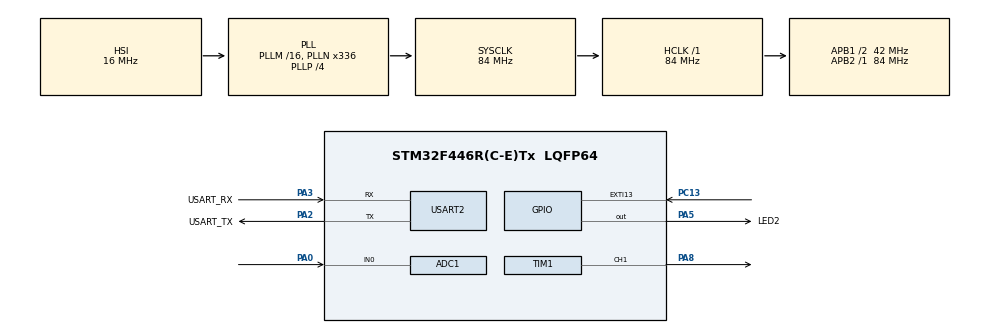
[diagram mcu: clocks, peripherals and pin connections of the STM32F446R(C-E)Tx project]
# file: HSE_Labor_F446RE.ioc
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ADC1.Channel-1\#ChannelRegularConversion=ADC_CHANNEL_0
ADC1.ContinuousConvMode=ENABLE
ADC1.NbrOfConversionFlag=1
ADC1.Rank-1\#ChannelRegularConversion=1
ADC1.SamplingTime-1\#ChannelRegularConversion=ADC_SAMPLETIME_3CYCLES
ADC1.master=1
Mcu.Family=STM32F4
Mcu.Name=STM32F446R(C-E)Tx
Mcu.Package=LQFP64
NUCLEO-F446RE.BUTTON=1
NUCLEO-F446RE.Bsp_Common_DEMO=true
NUCLEO-F446RE.LD1=true
NVIC.EXTI15_10_IRQn=true\:0\:0\:false\:false\:true\:false\:true\:true
NVIC.PriorityGroup=NVIC_PRIORITYGROUP_0
PA0-WKUP.Signal=ADCx_IN0
PA13.GPIO_Label=TMS
PA13.Mode=Serial_Wire
PA13.Signal=SYS_JTMS-SWDIO
PA14.GPIO_Label=TCK
PA14.Mode=Serial_Wire
PA14.Signal=SYS_JTCK-SWCLK
PA2.GPIO_Label=USART_TX
PA2.Mode=Asynchronous
PA2.Signal=USART2_TX
PA3.GPIO_Label=USART_RX
PA3.Mode=Asynchronous
PA3.Signal=USART2_RX
PA5.GPIO_Label=LED2
PA5.Signal=GPIO_Output
PA8.Signal=S_TIM1_CH1
PC13.Signal=GPXTI13
PC14-OSC32_IN.Signal=RCC_OSC32_IN
PC15-OSC32_OUT.Signal=RCC_OSC32_OUT
PH0-OSC_IN.Signal=RCC_OSC_IN
PH1-OSC_OUT.Signal=RCC_OSC_OUT
ProjectManager.HeapSize=0x200
ProjectManager.StackSize=0x400
ProjectManager.TargetToolchain=CMake
RCC.AHBFreq_Value=84000000
RCC.APB1CLKDivider=RCC_HCLK_DIV2
RCC.APB1Freq_Value=42000000
RCC.APB1TimFreq_Value=84000000
RCC.APB2Freq_Value=84000000
RCC.APB2TimFreq_Value=84000000
RCC.CortexFreq_Value=84000000
RCC.FLatency-AdvancedSettings=FLASH_LATENCY_2
RCC.HCLKFreq_Value=84000000
RCC.HSE_VALUE=8000000
RCC.HSI_VALUE=16000000
RCC.LSE_VALUE=32768
RCC.PLLN=336
RCC.PLLP=RCC_PLLP_DIV4
RCC.SYSCLKFreq_VALUE=84000000
RCC.SYSCLKSource=RCC_SYSCLKSOURCE_PLLCLK
RCC.USBFreq_Value=168000000
RCC.VCOOutputFreq_Value=336000000
SH.ADCx_IN0.0=ADC1_IN0,IN0
SH.S_TIM1_CH1.0=TIM1_CH1,PWM Generation1 CH1
TIM1.Channel-PWM\ Generation1\ CH1=TIM_CHANNEL_1
TIM1.Period=999
TIM1.Prescaler=83
USART2.VirtualMode=VM_ASYNC
VP_NUCLEO-F446RE_VS_BSP_COMMON.Mode=COMMON
VP_TIM1_VS_ClockSourceINT.Mode=Internal
board=NUCLEO-F446RE

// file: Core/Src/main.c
/* USER CODE BEGIN Header */
/**
  ******************************************************************************
  * @file           : main.c
  * @brief          : Main program body
  ******************************************************************************
  * @attention
  *
  * Copyright (c) 2026 STMicroelectronics.
  * All rights reserved.
  *
  * This software is licensed under terms that can be found in the LICENSE file
  * in the root directory of this software component.
  * If no LICENSE file comes with this software, it is provided AS-IS.
  *
  ******************************************************************************
  */
/* USER CODE END Header */
#include "main.h"

/* Button state */
#define BUTTON_RELEASED                    0U
#define BUTTON_PRESSED                     1U

ADC_HandleTypeDef hadc1;

TIM_HandleTypeDef htim1;

UART_HandleTypeDef huart2;

void SystemClock_Config(void);
static void MX_GPIO_Init(void);
static void MX_ADC1_Init(void);
static void MX_TIM1_Init(void);
static void MX_USART2_UART_Init(void);

/* USER CODE BEGIN 0 */

/* -------------------------------------------------*/
/* -- Aufgabenteil B -- **/
/* -------------------------------------------------*/

/* -- Messung der Spannung -- */
static float cur_voltage = 0.0f; // variable for STM32Cube Live Watch
static float cur_voltage_avg = 0.0f; // variable for STM32Cube Live Watch
static uint32_t adc_reading_int = 0.0f; // variable for STM32Cube Live Watch
static float avg_adc_reading_float = 0.0f; // variable for STM32Cube Live Watch
static uint32_t avg_adc_reading_int = 0.0f; // variable for STM32Cube Live Watch

uint32_t read_adc(void) {
  uint32_t reading;

  // Start the ADC conversion from an analog to a digital signal
  HAL_ADC_Start(&hadc1);

  // Wait for the conversion to complete with a timeout of 100ms
  if (HAL_ADC_PollForConversion(&hadc1, 100) == HAL_OK) {
      // Get the raw 12-bit value (0 - 4095)
      reading = HAL_ADC_GetValue(&hadc1);

      // Stop the ADC
      HAL_ADC_Stop(&hadc1);

      return reading;

  } else {

    // Stop the ADC after timeout
    HAL_ADC_Stop(&hadc1);
    return 0;
  }
}

/* -- gleitender Mittelwert Filter -- **/
// Window size (N)
#define WINDOW 32
static uint32_t mov_avg_index = 0;

// Moving average buffer and sum for int
static uint32_t buffer_int[WINDOW] = {0};
static uint32_t sum_int = 0;

// Int-Filter
uint32_t read_adc_avg_int(void) {

  // Start the ADC conversion from an analog to a digital signal
  HAL_ADC_Start(&hadc1);

  // Wait for the conversion to complete with a timeout of 100ms
  if (HAL_ADC_PollForConversion(&hadc1, 100) == HAL_OK) {

    uint32_t raw_value = HAL_ADC_GetValue(&hadc1);

    // Calculate current moving average:
    sum_int -= buffer_int[mov_avg_index];           // subtract oldest value in window from the sum
    buffer_int[mov_avg_index] = raw_value;          // add new value to the window
    sum_int += raw_value;                           // add the new value to the sum
    mov_avg_index = (mov_avg_index + 1) % WINDOW;   // loop through the window with modolu

    HAL_ADC_Stop(&hadc1);

    return (sum_int >> 5); // because WINDOW = 32 = 2^5 --> right shift by 5

  } else {

    // Stop the ADC after timeout
    HAL_ADC_Stop(&hadc1);
    return (sum_int >> 5);
  }
}

// Moving average buffer and sum for float
static float buffer_float[WINDOW] = {0.0f};
static float sum_float = 0.0f;

// Float-Filter
float read_adc_avg_float(void) {

  // Start the ADC conversion from an analog to a digital signal
  HAL_ADC_Start(&hadc1);

  // Wait for the conversion to complete with a timeout of 100ms
  if (HAL_ADC_PollForConversion(&hadc1, 100) == HAL_OK) {

    float raw_value = HAL_ADC_GetValue(&hadc1);

    // Calculate current moving average:
    sum_float -= buffer_float[mov_avg_index];          // subtract oldest value in window from the sum
    buffer_float[mov_avg_index] = raw_value;           // add new value to the window
    sum_float += raw_value;                            // add the new value to the sum
    mov_avg_index = (mov_avg_index + 1) % WINDOW;      // loop through the window, by going back to 0 with modulo

    HAL_ADC_Stop(&hadc1);

    return (sum_float / WINDOW);

  } else {

    // Stop the ADC after timeout
    HAL_ADC_Stop(&hadc1);
    return (sum_float / WINDOW);
  }
}

/* -- Toggle der LED bei bestimmter Spannung -- */
void toggle_led(void) {

      // uint32_t value = read_adc();      // Take current adc reading
      uint32_t value = read_adc_avg_int();  // Take average adc reading

      // Observation Note:
      // when the read value (single) are near the threshhold (2048) the LED will flicker, because the value fluctuates
      // when the avg is read, the LED will flicker less the greater the window

      // Check if value from ADC is above 2048, if true -> set pin, otherwise reset (LED on/off)
      if(value >= 2048) {
        HAL_GPIO_WritePin(GPIOA, GPIO_PIN_5, GPIO_PIN_SET);
      } else {
        HAL_GPIO_WritePin(GPIOA, GPIO_PIN_5, GPIO_PIN_RESET);
      }
}

float convert_to_voltage(uint32_t adc_reading) {
    // Convert value to voltage (3.3V reference voltage and 12-bit ADC resolution)
    return (float)adc_reading * (3.3f / 4095.0f);
}

/* ------------------------------------------ */
/* -- Aufgabenteil C -- */
/* -------------------------------------------*/

/* -- LED Dimmer / PWM -- */
#define ADC_MAX 4095u // max adc (here 12-Bit)
#define PWM_ARR 999u  // counter period (set in cubemx) -> 1000 duty steps

// Controlling brightness with average adc value
void led_brightness_pwm() {

  // Get current adc average
  uint32_t cur_adc_avg = read_adc_avg_int();

  // Calculate value to be compared
  uint32_t capture_compare_reg = (cur_adc_avg * (PWM_ARR + 1) ) / ADC_MAX; // i.e. (1450 * 1000) / 4095 = 354 -> 35,4 % pwm

  __HAL_TIM_SET_COMPARE(&htim1, TIM_CHANNEL_1, capture_compare_reg);
}

/* ------------------------------------------ */
/* -- Aufgabenteil D -- */
/* -------------------------------------------*/

// Interrupt Callback
void HAL_GPIO_EXTI_Callback(uint16_t GPIO_Pin)
{
  if (GPIO_Pin == GPIO_PIN_13)
  {
    HAL_GPIO_TogglePin(GPIOA, GPIO_PIN_5); // Toggle LED
  }
}
/* USER CODE END 0 */

int main(void)
{

  /* MCU Configuration--------------------------------------------------------*/

  /* Reset of all peripherals, Initializes the Flash interface and the Systick. */
  HAL_Init();

  /* Configure the system clock */
  SystemClock_Config();

  /* Initialize all configured peripherals */
  MX_GPIO_Init();
  MX_ADC1_Init();
  MX_TIM1_Init();
  MX_USART2_UART_Init();
  /* USER CODE BEGIN 2 */

  /* ----------------------------- */
  /* -- Aufgabenteil C -- */

  // Set to 10ms at runtime (1 µs * 10.000 = 10ms)
  //__HAL_TIM_SET_PRESCALER(&htim1, 83);        // PSC = 83 -> 84/84 = 1MHz = 1 µs
  //__HAL_TIM_SET_AUTORELOAD(&htim1, 9999);     // 10.000 ticks

  // Set to 100ms at runtime (10 µs * 10.000 = 10ms)
  //__HAL_TIM_SET_AUTORELOAD(&htim1, 9999);     // 10.000 ticks
  //__HAL_TIM_SET_PRESCALER(&htim1, 839);       // PSC = 839 -> 84/840 = 0,1 MHz = 10 µs

  // Start PWM Signal (Time 1, Channel 1)
  HAL_TIM_PWM_Start(&htim1, TIM_CHANNEL_1);

  /* ----------------------------- */

  /* ----------------------------- */
  /* -- Aufgabenteil D -- */

  /* ----------------------------- */

  /* USER CODE END 2 */

  /* Infinite loop */
  /* USER CODE BEGIN WHILE */
  while (1)
  {
    /** -- Aufgabenteil A - Toggeln der LED -- */
    //HAL_GPIO_TogglePin(GPIOA, GPIO_PIN_5);
    //HAL_Delay(1000);

    /* -- Aufgabenteil B - Messung der Spannung -- **/
    cur_voltage = convert_to_voltage(read_adc_avg_float());
    cur_voltage_avg = convert_to_voltage(read_adc_avg_int());
    avg_adc_reading_int = read_adc_avg_int();
    avg_adc_reading_float = read_adc_avg_float();

    //toggle_led(); // toggle led with current adc reading

    /* -- Aufgabenteil C - Dimmen der LED -- **/
    led_brightness_pwm(); // determine brightness for external led

    /* USER CODE END WHILE */

  }
}

void SystemClock_Config(void)
{
  RCC_OscInitTypeDef RCC_OscInitStruct = {0};
  RCC_ClkInitTypeDef RCC_ClkInitStruct = {0};

  /** Configure the main internal regulator output voltage
  */
  __HAL_RCC_PWR_CLK_ENABLE();
  __HAL_PWR_VOLTAGESCALING_CONFIG(PWR_REGULATOR_VOLTAGE_SCALE3);

  /** Initializes the RCC Oscillators according to the specified parameters
  * in the RCC_OscInitTypeDef structure.
  */
  RCC_OscInitStruct.OscillatorType = RCC_OSCILLATORTYPE_HSI;
  RCC_OscInitStruct.HSIState = RCC_HSI_ON;
  RCC_OscInitStruct.HSICalibrationValue = RCC_HSICALIBRATION_DEFAULT;
  RCC_OscInitStruct.PLL.PLLState = RCC_PLL_ON;
  RCC_OscInitStruct.PLL.PLLSource = RCC_PLLSOURCE_HSI;
  RCC_OscInitStruct.PLL.PLLM = 16;
  RCC_OscInitStruct.PLL.PLLN = 336;
  RCC_OscInitStruct.PLL.PLLP = RCC_PLLP_DIV4;
  RCC_OscInitStruct.PLL.PLLQ = 2;
  RCC_OscInitStruct.PLL.PLLR = 2;
  if (HAL_RCC_OscConfig(&RCC_OscInitStruct) != HAL_OK)
  {
    Error_Handler();
  }

  /** Initializes the CPU, AHB and APB buses clocks
  */
  RCC_ClkInitStruct.ClockType = RCC_CLOCKTYPE_HCLK|RCC_CLOCKTYPE_SYSCLK
                              |RCC_CLOCKTYPE_PCLK1|RCC_CLOCKTYPE_PCLK2;
  RCC_ClkInitStruct.SYSCLKSource = RCC_SYSCLKSOURCE_PLLCLK;
  RCC_ClkInitStruct.AHBCLKDivider = RCC_SYSCLK_DIV1;
  RCC_ClkInitStruct.APB1CLKDivider = RCC_HCLK_DIV2;
  RCC_ClkInitStruct.APB2CLKDivider = RCC_HCLK_DIV1;

  if (HAL_RCC_ClockConfig(&RCC_ClkInitStruct, FLASH_LATENCY_2) != HAL_OK)
  {
    Error_Handler();
  }
}

static void MX_ADC1_Init(void)
{

  ADC_ChannelConfTypeDef sConfig = {0};

  /** Configure the global features of the ADC (Clock, Resolution, Data Alignment and number of conversion)
  */
  hadc1.Instance = ADC1;
  hadc1.Init.ClockPrescaler = ADC_CLOCK_SYNC_PCLK_DIV4;
  hadc1.Init.Resolution = ADC_RESOLUTION_12B;
  hadc1.Init.ScanConvMode = DISABLE;
  hadc1.Init.ContinuousConvMode = ENABLE;
  hadc1.Init.DiscontinuousConvMode = DISABLE;
  hadc1.Init.ExternalTrigConvEdge = ADC_EXTERNALTRIGCONVEDGE_NONE;
  hadc1.Init.ExternalTrigConv = ADC_SOFTWARE_START;
  hadc1.Init.DataAlign = ADC_DATAALIGN_RIGHT;
  hadc1.Init.NbrOfConversion = 1;
  hadc1.Init.DMAContinuousRequests = DISABLE;
  hadc1.Init.EOCSelection = ADC_EOC_SINGLE_CONV;
  if (HAL_ADC_Init(&hadc1) != HAL_OK)
  {
    Error_Handler();
  }

  /** Configure for the selected ADC regular channel its corresponding rank in the sequencer and its sample time.
  */
  sConfig.Channel = ADC_CHANNEL_0;
  sConfig.Rank = 1;
  sConfig.SamplingTime = ADC_SAMPLETIME_3CYCLES;
  if (HAL_ADC_ConfigChannel(&hadc1, &sConfig) != HAL_OK)
  {
    Error_Handler();
  }

}

static void MX_TIM1_Init(void)
{

  TIM_ClockConfigTypeDef sClockSourceConfig = {0};
  TIM_MasterConfigTypeDef sMasterConfig = {0};
  TIM_OC_InitTypeDef sConfigOC = {0};
  TIM_BreakDeadTimeConfigTypeDef sBreakDeadTimeConfig = {0};

  htim1.Instance = TIM1;
  htim1.Init.Prescaler = 83;
  htim1.Init.CounterMode = TIM_COUNTERMODE_UP;
  htim1.Init.Period = 999;
  htim1.Init.ClockDivision = TIM_CLOCKDIVISION_DIV1;
  htim1.Init.RepetitionCounter = 0;
  htim1.Init.AutoReloadPreload = TIM_AUTORELOAD_PRELOAD_DISABLE;
  if (HAL_TIM_Base_Init(&htim1) != HAL_OK)
  {
    Error_Handler();
  }
  sClockSourceConfig.ClockSource = TIM_CLOCKSOURCE_INTERNAL;
  if (HAL_TIM_ConfigClockSource(&htim1, &sClockSourceConfig) != HAL_OK)
  {
    Error_Handler();
  }
  if (HAL_TIM_PWM_Init(&htim1) != HAL_OK)
  {
    Error_Handler();
  }
  sMasterConfig.MasterOutputTrigger = TIM_TRGO_RESET;
  sMasterConfig.MasterSlaveMode = TIM_MASTERSLAVEMODE_DISABLE;
  if (HAL_TIMEx_MasterConfigSynchronization(&htim1, &sMasterConfig) != HAL_OK)
  {
    Error_Handler();
  }
  sConfigOC.OCMode = TIM_OCMODE_PWM1;
  sConfigOC.Pulse = 0;
  sConfigOC.OCPolarity = TIM_OCPOLARITY_HIGH;
  sConfigOC.OCNPolarity = TIM_OCNPOLARITY_HIGH;
  sConfigOC.OCFastMode = TIM_OCFAST_DISABLE;
  sConfigOC.OCIdleState = TIM_OCIDLESTATE_RESET;
  sConfigOC.OCNIdleState = TIM_OCNIDLESTATE_RESET;
  if (HAL_TIM_PWM_ConfigChannel(&htim1, &sConfigOC, TIM_CHANNEL_1) != HAL_OK)
  {
    Error_Handler();
  }
  sBreakDeadTimeConfig.OffStateRunMode = TIM_OSSR_DISABLE;
  sBreakDeadTimeConfig.OffStateIDLEMode = TIM_OSSI_DISABLE;
  sBreakDeadTimeConfig.LockLevel = TIM_LOCKLEVEL_OFF;
  sBreakDeadTimeConfig.DeadTime = 0;
  sBreakDeadTimeConfig.BreakState = TIM_BREAK_DISABLE;
  sBreakDeadTimeConfig.BreakPolarity = TIM_BREAKPOLARITY_HIGH;
  sBreakDeadTimeConfig.AutomaticOutput = TIM_AUTOMATICOUTPUT_DISABLE;
  if (HAL_TIMEx_ConfigBreakDeadTime(&htim1, &sBreakDeadTimeConfig) != HAL_OK)
  {
    Error_Handler();
  }
  HAL_TIM_MspPostInit(&htim1);

}

static void MX_USART2_UART_Init(void)
{

  huart2.Instance = USART2;
  huart2.Init.BaudRate = 115200;
  huart2.Init.WordLength = UART_WORDLENGTH_8B;
  huart2.Init.StopBits = UART_STOPBITS_1;
  huart2.Init.Parity = UART_PARITY_NONE;
  huart2.Init.Mode = UART_MODE_TX_RX;
  huart2.Init.HwFlowCtl = UART_HWCONTROL_NONE;
  huart2.Init.OverSampling = UART_OVERSAMPLING_16;
  if (HAL_UART_Init(&huart2) != HAL_OK)
  {
    Error_Handler();
  }

}

static void MX_GPIO_Init(void)
{
  GPIO_InitTypeDef GPIO_InitStruct = {0};

  /* GPIO Ports Clock Enable */
  __HAL_RCC_GPIOC_CLK_ENABLE();
  __HAL_RCC_GPIOH_CLK_ENABLE();
  __HAL_RCC_GPIOA_CLK_ENABLE();

  /*Configure GPIO pin Output Level */
  HAL_GPIO_WritePin(LED2_GPIO_Port, LED2_Pin, GPIO_PIN_RESET);

  /*Configure GPIO pin : PC13 */
  GPIO_InitStruct.Pin = GPIO_PIN_13;
  GPIO_InitStruct.Mode = GPIO_MODE_IT_FALLING;
  GPIO_InitStruct.Pull = GPIO_NOPULL;
  HAL_GPIO_Init(GPIOC, &GPIO_InitStruct);

  /*Configure GPIO pin : LED2_Pin */
  GPIO_InitStruct.Pin = LED2_Pin;
  GPIO_InitStruct.Mode = GPIO_MODE_OUTPUT_PP;
  GPIO_InitStruct.Pull = GPIO_NOPULL;
  GPIO_InitStruct.Speed = GPIO_SPEED_FREQ_LOW;
  HAL_GPIO_Init(LED2_GPIO_Port, &GPIO_InitStruct);

  /* EXTI interrupt init*/
  HAL_NVIC_SetPriority(EXTI15_10_IRQn, 0, 0);
  HAL_NVIC_EnableIRQ(EXTI15_10_IRQn);

}

void Error_Handler(void)
{
  __disable_irq();
  while (1)
  {
  }
}
